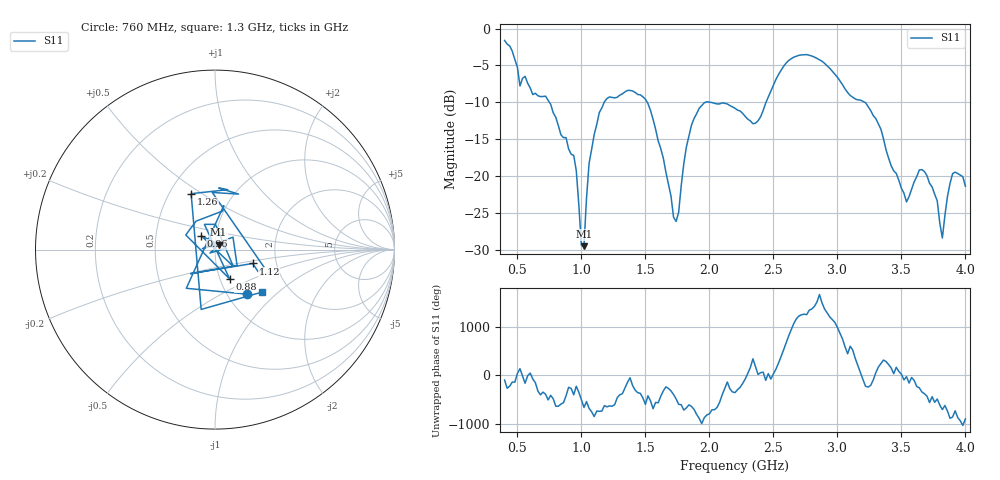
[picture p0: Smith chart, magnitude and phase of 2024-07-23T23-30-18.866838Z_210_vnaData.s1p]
!Created with skrf (http://scikit-rf.org).
# Hz S RI R 50.0
!freq ReS11 ImS11
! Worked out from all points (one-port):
!   181 points, 400 MHz to 4 GHz, reference 50 ohm
!   lowest |S11| = -29.5 dB at 1.02 GHz (marker M1), VSWR 1.07, Z = 51.9 + j2.8 ohm
!   |S11| at or under -10 dB: 1.514 GHz to 1.969 GHz (454.9 MHz wide, 26.1 % of centre); 2.008 GHz to 2.442 GHz (434.4 MHz wide, 19.5 % of centre); 3.214 GHz to end of sweep (the widest 3 of 4)
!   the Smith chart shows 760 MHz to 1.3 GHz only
!   S11 on the Smith chart (normalised r, x): 760 MHz: 1.23, -0.68; 880 MHz: 1.11, -0.37; 960 MHz: 0.85, +0.13; 1.12 GHz: 1.51, -0.25; 1.26 GHz: 0.64, +0.45; 1.3 GHz: 1.46, -0.79
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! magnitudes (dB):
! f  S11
! 400 MHz  -1.6
! 520 MHz  -7.8
! 760 MHz  -10.3
! 860 MHz  -14.8
! 880 MHz  -14.8
! 960 MHz  -19.3
! 1 GHz  -29.5
! 1.02 GHz  -29.5
! 1.06 GHz  -18.3
! 1.12 GHz  -13.0
! 1.26 GHz  -9.4
! 1.3 GHz  -9.0
! 1.52 GHz  -10.2
! 1.72 GHz  -25.6
! 1.76 GHz  -24.9
! 1.82 GHz  -16.1
! 1.92 GHz  -10.8
! 2.2 GHz  -10.8
! 2.36 GHz  -12.8
! 2.66 GHz  -3.9
! 3.1 GHz  -9.1
! 3.3 GHz  -12.2
! 3.56 GHz  -22.8
! 3.68 GHz  -19.4
! 3.78 GHz  -23.4
! 3.82 GHz  -28.4
! 3.9 GHz  -19.7
! 4 GHz  -21.4
